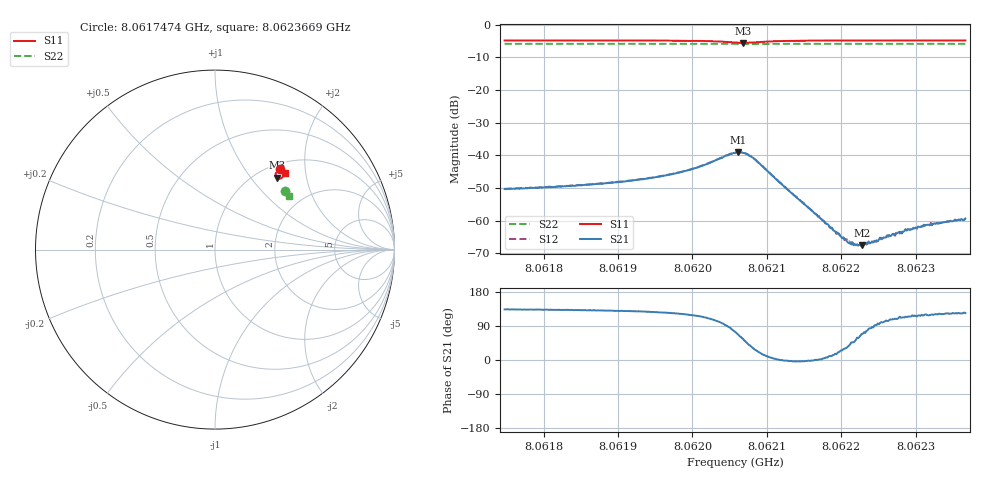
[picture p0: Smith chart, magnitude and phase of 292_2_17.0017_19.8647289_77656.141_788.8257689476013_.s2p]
#  HZ  S  RI  R  50.00
! Rohde & Schwarz Vector Network Analyzer
! Rohde-Schwarz,ZNB20-2Port,1311601062101988,3.16
! Created: UTC 3/20/2024, 11:05:09 PM
! freq[Hz]  re:S11  im:S11  re:S21  im:S21  re:S12  im:S12  re:S22  im:S22
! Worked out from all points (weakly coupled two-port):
!   401 points, 8.0617474 GHz to 8.0623669 GHz, reference 50 ohm
!   highest |S21| = -39.04 dB at 8.0620618 GHz (marker M1); lowest = -67.6 dB at 8.0622275 GHz (marker M2)
!   lowest |S11| = -5.5 dB at 8.062068 GHz (marker M3), VSWR 3.24, Z = 61.2 + j68 ohm
!   |S11| at or under -10 dB: nowhere
!   |S22| runs from -5.9 to -5.8 dB; largest |S21 - S12| = 0.00086
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8.06174742e9  0.361 0.4487  -0.0021 0.00221  -0.00197 0.00235  0.3923 0.3289
8.06185117e9  0.3684 0.4422  -0.00231 0.0026  -0.00217 0.00276  0.3965 0.3235
8.06190692e9  0.3726 0.438  -0.00251 0.00307  -0.00234 0.00322  0.3985 0.3209
8.06195493e9  0.3768 0.4326  -0.00275 0.00384  -0.00256 0.00403  0.4005 0.3182
8.06200603e9  0.3811 0.4217  -0.00289 0.00581  -0.00255 0.00605  0.4021 0.3153
8.06205714e9  0.3604 0.3952  0.00291 0.0104  0.00357 0.0104  0.4027 0.312
8.06206178e9  0.3538 0.3961  0.00443 0.0102  0.00507 0.0099  0.4025 0.3121
8.06206798e9  0.3452 0.4002  0.0061 0.009  0.00686 0.00859  0.4023 0.312
8.06208191e9  0.3374 0.4183  0.00791 0.0046  0.00813 0.0041  0.4028 0.3124
8.06216089e9  0.3675 0.4384  0.00142 -3.14e-05  0.00142 -0.000133  0.4073 0.3091
8.06219186e9  0.3726 0.4364  0.000656 0.000196  0.000655 0.000126  0.4083 0.3075
8.06221045e9  0.3752 0.4351  0.000358 0.000278  0.000407 0.000263  0.4092 0.3065
8.06221974e9  0.3762 0.4345  0.000248 0.000338  0.000275 0.000312  0.4095 0.3061
8.06222748e9  0.377 0.4341  0.000148 0.000389  0.000174 0.000367  0.4098 0.3057
8.06224606e9  0.3788 0.433  -1.81e-05 0.000484  -1.55e-06 0.000479  0.4105 0.3046
8.06225845e9  0.38 0.4322  -0.000112 0.000539  -0.00011 0.000583  0.4109 0.304
8.06226465e9  0.3805 0.4319  -0.000163 0.000575  -0.000116 0.000583  0.4111 0.3038
8.06227858e9  0.3816 0.4309  -0.000279 0.000614  -0.000218 0.000596  0.4117 0.3029
8.06228633e9  0.3823 0.4304  -0.000305 0.000676  -0.000229 0.000691  0.4119 0.3027
8.06230646e9  0.3837 0.4293  -0.000357 0.000713  -0.000338 0.000735  0.4128 0.3017
8.06234982e9  0.3869 0.4269  -0.000547 0.00081  -0.000509 0.000898  0.4141 0.2993
8.06236686e9  0.388 0.426  -0.000602 0.000898  -0.00053 0.000883  0.4149 0.2984
